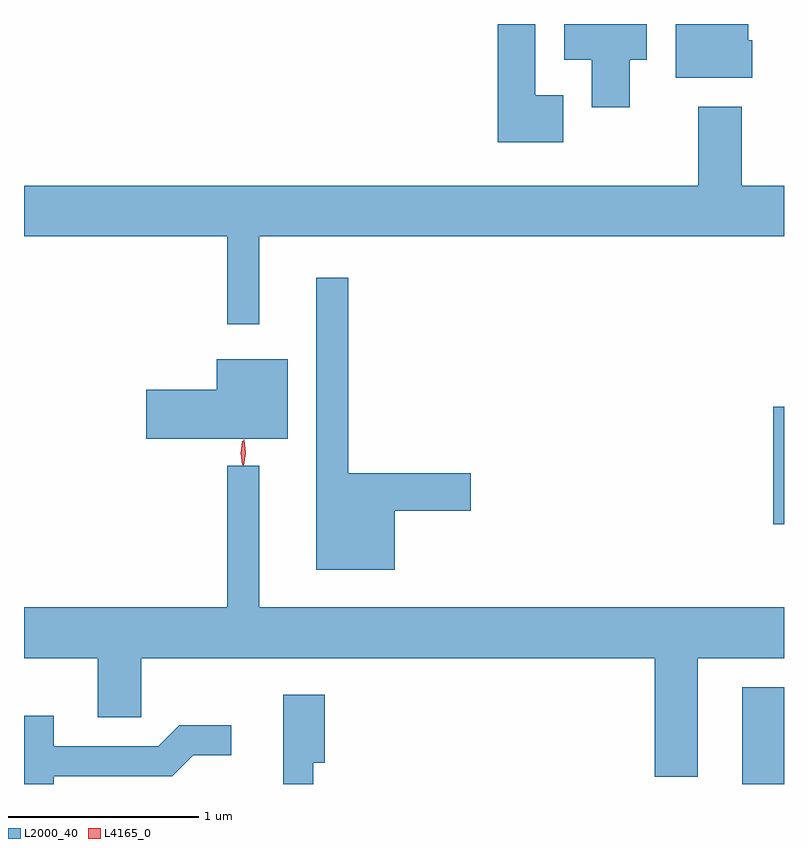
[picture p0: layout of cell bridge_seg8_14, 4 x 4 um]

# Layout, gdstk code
import gdstk
lib = gdstk.Library(unit=1e-6, precision=1e-09)
def R(c, l, rs):  # rectangles x0, y0, x1, y1
    for r in rs: c.add(gdstk.rectangle(r[:2], r[2:], *l))
def P(c, l, *ps):  # polygons
    for p in ps: c.add(gdstk.Polygon(p, *l))
L2000_40 = (2000, 40)
L4165_0 = (4165, 0)

bridge_seg8_14 = lib.new_cell('bridge_seg8_14')
R(bridge_seg8_14, L2000_40, [(1750.601,1926.774,1750.822,1927.284), (1750.766,1928.141,1750.822,1928.759)])
P(bridge_seg8_14, L2000_40, [(1750.009,1930.586),(1750.099,1930.586),(1750.099,1930.774),(1749.666,1930.774),(1749.666,1930.586),(1749.811,1930.586),(1749.811,1930.336),(1750.009,1930.336)],
  [(1750.654,1930.689),(1750.634,1930.689),(1750.634,1930.774),(1750.251,1930.774),(1750.251,1930.491),(1750.654,1930.491)],
  [(1749.659,1930.399),(1749.514,1930.399),(1749.514,1930.774),(1749.316,1930.774),(1749.316,1930.151),(1749.659,1930.151)],
  [(1748.059,1929.656),(1750.822,1929.656),(1750.822,1929.924),(1750.599,1929.924),(1750.599,1930.339),(1750.371,1930.339),(1750.371,1929.924),(1746.822,1929.924),(1746.822,1929.656),(1747.891,1929.656),(1747.891,1929.193),(1748.059,1929.193)],
  [(1748.774,1928.211),(1749.174,1928.211),(1749.174,1928.409),(1748.529,1928.409),(1748.529,1929.438),(1748.361,1929.438),(1748.361,1927.901),(1748.774,1927.901)],
  [(1748.209,1929.009),(1747.836,1929.009),(1747.836,1928.849),(1747.466,1928.849),(1747.466,1928.591),(1748.209,1928.591)],
  [(1750.369,1927.436),(1750.822,1927.436),(1750.822,1927.704),(1748.059,1927.704),(1748.059,1928.448),(1747.891,1928.448),(1747.891,1927.704),(1746.822,1927.704),(1746.822,1927.436),(1747.211,1927.436),(1747.211,1927.126),(1747.439,1927.126),(1747.439,1927.436),(1750.141,1927.436),(1750.141,1926.811),(1750.369,1926.811)],
  [(1748.344,1926.886),(1748.404,1926.886),(1748.404,1927.244),(1748.186,1927.244),(1748.186,1926.774),(1748.344,1926.774)],
  [(1746.979,1926.816),(1747.602,1926.816),(1747.712,1926.926),(1747.913,1926.926),(1747.913,1927.084),(1747.639,1927.084),(1747.529,1926.974),(1746.979,1926.974),(1746.979,1927.134),(1746.822,1927.134),(1746.822,1926.774),(1746.979,1926.774)])
P(bridge_seg8_14, L4165_0, [(1747.977,1928.45),(1747.969,1928.518),(1747.979,1928.586),(1747.98,1928.586),(1747.98,1928.586),(1747.989,1928.518),(1747.978,1928.45),(1747.978,1928.45)],
  [(1747.971,1928.453),(1747.962,1928.516),(1747.971,1928.579),(1747.972,1928.58),(1747.972,1928.579),(1747.982,1928.516),(1747.972,1928.453),(1747.972,1928.453)])

lib.write_gds('bridge_seg8_14.gds')
